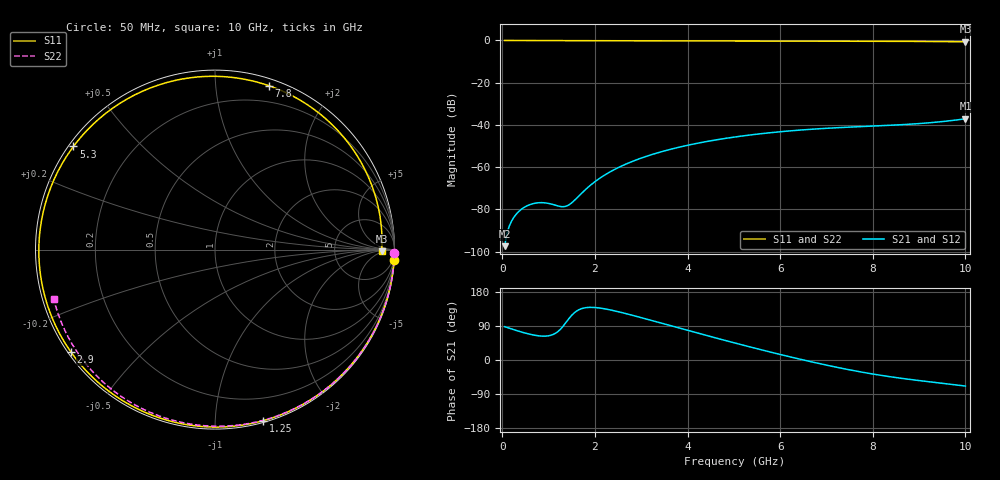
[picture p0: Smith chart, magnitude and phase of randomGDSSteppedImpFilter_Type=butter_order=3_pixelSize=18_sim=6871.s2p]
! freq	dB(S11)	phase(S11)	dB(S12)	phase(S12)
!  dB(S21)	phase(S21)	dB(S22)	phase(S22)
!S-par simulation data
#  GHz  S  DB  R 50
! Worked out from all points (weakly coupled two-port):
!   200 points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, 50 MHz to 10 GHz, reference 50 ohm
!   highest |S21| = -37.09 dB at 10 GHz (marker M1); lowest = -97.4 dB at 50 MHz (marker M2)
!   lowest |S11| = -0.6 dB at 10 GHz (marker M3), VSWR 27.18, Z = 1.33e+03 - j188 ohm
!   |S11| at or under -10 dB: nowhere
!   |S22| runs from -0.5 to 0.0 dB; largest |S21 - S12| = 0
!   S11 on the Smith chart (normalised r, x): 50 MHz: 0, -36; 1.25 GHz: 0.01, -1.32; 2.9 GHz: 0.01, -0.32; 5.3 GHz: 0.01, +0.33; 7.8 GHz: 0.06, +1.38; 10 GHz: 27, -4
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0.05  -0.00 -3.2  -97.38 88.0  -97.38 88.0  -0.00 -1.0
0.4  -0.04 -25.3  -80.12 74.3  -80.12 74.3  -0.01 -7.6
0.7  -0.06 -43.6  -77.07 65.3  -77.07 65.3  -0.02 -13.3
0.95  -0.07 -58.1  -76.95 63.1  -76.95 63.1  -0.02 -18.0
1.25  -0.08 -74.4  -78.58 80.4  -78.58 80.4  -0.03 -23.6
1.35  -0.09 -79.6  -78.63 94.9  -78.63 94.9  -0.03 -25.5
1.45  -0.09 -84.6  -77.68 111.0  -77.68 111.0  -0.03 -27.3
1.75  -0.10 -98.9  -71.52 136.8  -71.52 136.8  -0.04 -32.9
2  -0.11 -110.0  -66.86 138.5  -66.86 138.5  -0.05 -37.4
2.25  -0.12 -120.3  -63.19 134.2  -63.19 134.2  -0.05 -41.9
2.9  -0.13 -144.5  -56.48 115.1  -56.48 115.1  -0.07 -53.5
3.4  -0.14 -161.0  -52.89 98.4  -52.89 98.4  -0.08 -62.2
4.2  -0.17 174.8  -48.72 71.6  -48.72 71.6  -0.11 -75.6
5.05  -0.20 150.8  -45.61 43.9  -45.61 43.9  -0.14 -89.4
5.3  -0.21 143.9  -44.88 36.0  -44.88 36.0  -0.15 -93.3
6.05  -0.25 123.0  -43.11 13.1  -43.11 13.1  -0.18 -104.9
6.7  -0.28 104.6  -41.99 -5.5  -41.99 -5.5  -0.22 -114.7
7.25  -0.31 88.4  -41.28 -19.9  -41.28 -19.9  -0.26 -122.8
7.8  -0.34 71.8  -40.72 -32.8  -40.72 -32.8  -0.30 -130.8
8.35  -0.39 54.5  -40.18 -43.7  -40.18 -43.7  -0.35 -138.8
9.25  -0.49 25.1  -38.92 -57.8  -38.92 -57.8  -0.45 -151.9
10  -0.64 -0.6  -37.09 -68.7  -37.09 -68.7  -0.54 -162.9
